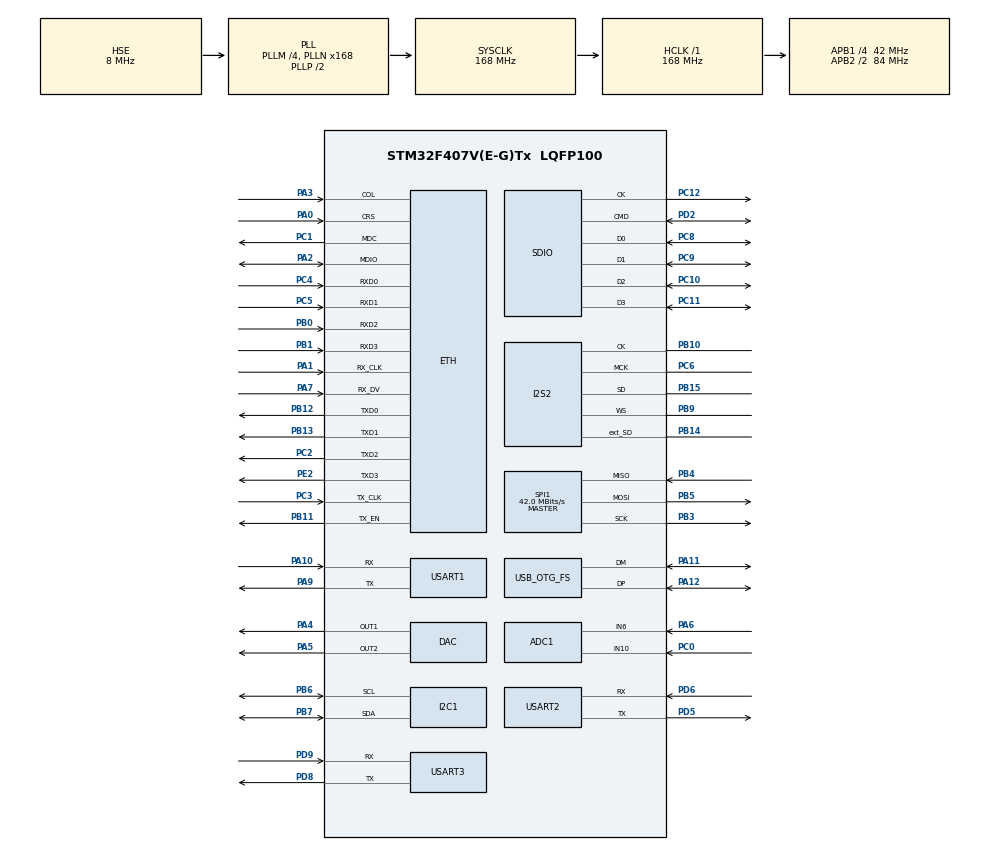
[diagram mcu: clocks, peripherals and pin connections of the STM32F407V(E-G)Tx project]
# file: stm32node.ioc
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ADC1.Channel-0\#ChannelRegularConversion=ADC_CHANNEL_10
ADC1.NbrOfConversionFlag=1
ADC1.Rank-0\#ChannelRegularConversion=1
ADC1.SamplingTime-0\#ChannelRegularConversion=ADC_SAMPLETIME_3CYCLES
ADC1.master=1
Dma.Request0=SDIO_RX
Dma.Request1=SDIO_TX
Dma.SDIO_RX.0.Direction=DMA_PERIPH_TO_MEMORY
Dma.SDIO_RX.0.FIFOMode=DMA_FIFOMODE_ENABLE
Dma.SDIO_RX.0.FIFOThreshold=DMA_FIFO_THRESHOLD_FULL
Dma.SDIO_RX.0.Instance=DMA2_Stream3
Dma.SDIO_RX.0.MemBurst=DMA_MBURST_INC4
Dma.SDIO_RX.0.MemDataAlignment=DMA_MDATAALIGN_WORD
Dma.SDIO_RX.0.MemInc=DMA_MINC_ENABLE
Dma.SDIO_RX.0.Mode=DMA_PFCTRL
Dma.SDIO_RX.0.PeriphBurst=DMA_PBURST_INC4
Dma.SDIO_RX.0.PeriphDataAlignment=DMA_PDATAALIGN_WORD
Dma.SDIO_RX.0.PeriphInc=DMA_PINC_DISABLE
Dma.SDIO_RX.0.Priority=DMA_PRIORITY_VERY_HIGH
Dma.SDIO_TX.1.Direction=DMA_MEMORY_TO_PERIPH
Dma.SDIO_TX.1.FIFOMode=DMA_FIFOMODE_ENABLE
Dma.SDIO_TX.1.FIFOThreshold=DMA_FIFO_THRESHOLD_FULL
Dma.SDIO_TX.1.Instance=DMA2_Stream6
Dma.SDIO_TX.1.MemBurst=DMA_MBURST_INC4
Dma.SDIO_TX.1.MemDataAlignment=DMA_MDATAALIGN_WORD
Dma.SDIO_TX.1.MemInc=DMA_MINC_ENABLE
Dma.SDIO_TX.1.Mode=DMA_PFCTRL
Dma.SDIO_TX.1.PeriphBurst=DMA_PBURST_INC4
Dma.SDIO_TX.1.PeriphDataAlignment=DMA_PDATAALIGN_WORD
Dma.SDIO_TX.1.PeriphInc=DMA_PINC_DISABLE
Dma.SDIO_TX.1.Priority=DMA_PRIORITY_VERY_HIGH
ETH.MediaInterface=ETH_MEDIA_INTERFACE_MII
FATFS._FS_RPATH=1
FATFS._MULTI_PARTITION=1
FATFS._VOLUMES=2
FREERTOS.Tasks01=defaultTask,0,2048,StartDefaultTask,Default,NULL,Dynamic,NULL,NULL
I2S2.ErrorAudioFreq=1.72 %
I2S2.FullDuplexMode=I2S_FULLDUPLEXMODE_ENABLE
I2S2.Instance=SPI$Index
I2S2.RealAudioFreq=8.138 KHz
I2S2.VirtualMode=I2S_MODE_MASTER
LWIP.Version=v2.0.3_Cube
Mcu.Family=STM32F4
Mcu.Name=STM32F407V(E-G)Tx
Mcu.Package=LQFP100
NVIC.DMA2_Stream3_IRQn=true\:6\:0\:true\:false\:true\:true\:false
NVIC.DMA2_Stream6_IRQn=true\:6\:0\:true\:false\:true\:true\:false
NVIC.ETH_IRQn=true\:5\:0\:false\:false\:true\:true\:false
NVIC.OTG_FS_IRQn=true\:5\:0\:false\:false\:true\:true\:false
NVIC.PriorityGroup=NVIC_PRIORITYGROUP_4
NVIC.SDIO_IRQn=true\:5\:0\:false\:false\:true\:true\:true
NVIC.TIM1_UP_TIM10_IRQn=true\:0\:0\:false\:false\:true\:false\:false
NVIC.TimeBase=TIM1_UP_TIM10_IRQn
NVIC.TimeBaseIP=TIM1
PA0-WKUP.Mode=MII
PA0-WKUP.Signal=ETH_CRS
PA1.Mode=MII
PA1.Signal=ETH_RX_CLK
PA10.Mode=Asynchronous
PA10.Signal=USART1_RX
PA11.Mode=Device_Only
PA11.Signal=USB_OTG_FS_DM
PA12.Mode=Device_Only
PA12.Signal=USB_OTG_FS_DP
PA13.Mode=Serial_Wire
PA13.Signal=SYS_JTMS-SWDIO
PA14.Mode=Serial_Wire
PA14.Signal=SYS_JTCK-SWCLK
PA2.Mode=MII
PA2.Signal=ETH_MDIO
PA3.Mode=MII
PA3.Signal=ETH_COL
PA4.Signal=COMP_DAC1_group
PA5.Signal=COMP_DAC2_group
PA6.Signal=ADCx_IN6
PA7.Mode=MII
PA7.Signal=ETH_RX_DV
PA9.Mode=Asynchronous
PA9.Signal=USART1_TX
PB0.Mode=MII
PB0.Signal=ETH_RXD2
PB1.Mode=MII
PB1.Signal=ETH_RXD3
PB10.Mode=Full_Duplex_Master
PB10.Signal=I2S2_CK
PB11.Mode=MII
PB11.Signal=ETH_TX_EN
PB12.Mode=MII
PB12.Signal=ETH_TXD0
PB13.Mode=MII
PB13.Signal=ETH_TXD1
PB14.Mode=Full_Duplex_Master
PB14.Signal=I2S2_ext_SD
PB15.Mode=Full_Duplex_Master
PB15.Signal=I2S2_SD
PB3.Mode=Full_Duplex_Master
PB3.Signal=SPI1_SCK
PB4.Mode=Full_Duplex_Master
PB4.Signal=SPI1_MISO
PB5.Mode=Full_Duplex_Master
PB5.Signal=SPI1_MOSI
PB6.Mode=I2C
PB6.Signal=I2C1_SCL
PB7.Mode=I2C
PB7.Signal=I2C1_SDA
PB9.Mode=Full_Duplex_Master
PB9.Signal=I2S2_WS
PC0.Signal=ADCx_IN10
PC1.Mode=MII
PC1.Signal=ETH_MDC
PC10.Mode=SD_4_bits_Wide_bus
PC10.Signal=SDIO_D2
PC11.Mode=SD_4_bits_Wide_bus
PC11.Signal=SDIO_D3
PC12.Mode=SD_4_bits_Wide_bus
PC12.Signal=SDIO_CK
PC14-OSC32_IN.Mode=LSE-External-Oscillator
PC14-OSC32_IN.Signal=RCC_OSC32_IN
PC15-OSC32_OUT.Mode=LSE-External-Oscillator
PC15-OSC32_OUT.Signal=RCC_OSC32_OUT
PC2.Mode=MII
PC2.Signal=ETH_TXD2
PC3.Mode=MII
PC3.Signal=ETH_TX_CLK
PC4.Mode=MII
PC4.Signal=ETH_RXD0
PC5.Mode=MII
PC5.Signal=ETH_RXD1
PC6.Mode=Master_Clock_Activated
PC6.Signal=I2S2_MCK
PC8.Mode=SD_4_bits_Wide_bus
PC8.Signal=SDIO_D0
PC9.Mode=SD_4_bits_Wide_bus
PC9.Signal=SDIO_D1
PD2.Mode=SD_4_bits_Wide_bus
PD2.Signal=SDIO_CMD
PD5.Mode=Asynchronous
PD5.Signal=USART2_TX
PD6.Mode=Asynchronous
PD6.Signal=USART2_RX
PD8.Mode=Asynchronous
PD8.Signal=USART3_TX
PD9.Mode=Asynchronous
PD9.Signal=USART3_RX
PE2.Mode=MII
PE2.Signal=ETH_TXD3
PH0-OSC_IN.Mode=HSE-External-Oscillator
PH0-OSC_IN.Signal=RCC_OSC_IN
PH1-OSC_OUT.Mode=HSE-External-Oscillator
PH1-OSC_OUT.Signal=RCC_OSC_OUT
ProjectManager.HeapSize=0x200
ProjectManager.StackSize=0xA000
ProjectManager.TargetToolchain=MDK-ARM V5
RCC.48MHZClocksFreq_Value=48000000
RCC.AHBFreq_Value=168000000
RCC.APB1CLKDivider=RCC_HCLK_DIV4
RCC.APB1Freq_Value=42000000
RCC.APB1TimFreq_Value=84000000
RCC.APB2CLKDivider=RCC_HCLK_DIV2
RCC.APB2Freq_Value=84000000
RCC.APB2TimFreq_Value=168000000
RCC.CortexFreq_Value=168000000
RCC.HCLKFreq_Value=168000000
RCC.HSE_VALUE=8000000
RCC.HSI_VALUE=16000000
RCC.PLLI2SN=50
RCC.PLLM=4
RCC.PLLN=168
RCC.PLLQ=7
RCC.SYSCLKFreq_VALUE=168000000
RCC.SYSCLKSource=RCC_SYSCLKSOURCE_PLLCLK
RCC.VCOOutputFreq_Value=336000000
SH.ADCx_IN10.0=ADC1_IN10,IN10
SH.ADCx_IN6.0=ADC1_IN6,IN6
SH.COMP_DAC1_group.0=DAC_OUT1,DAC_OUT1
SH.COMP_DAC2_group.0=DAC_OUT2,DAC_OUT2
SPI1.CalculateBaudRate=42.0 MBits/s
SPI1.Direction=SPI_DIRECTION_2LINES
SPI1.Mode=SPI_MODE_MASTER
SPI1.VirtualType=VM_MASTER
USART1.VirtualMode=VM_ASYNC
USART2.VirtualMode=VM_ASYNC
USART3.VirtualMode=VM_ASYNC
USB_DEVICE.CLASS_NAME_FS=AUDIO
USB_DEVICE.VirtualMode-AUDIO_FS=Audio
USB_DEVICE.VirtualModeFS=Audio_FS
USB_OTG_FS.VirtualMode=Device_Only
VP_FATFS_VS_SDIO.Mode=SDIO
VP_FREERTOS_VS_ENABLE.Mode=Enabled
VP_LWIP_VS_Enabled.Mode=Enabled
VP_MBEDTLS_VS_MBEDTLS.Mode=Enabled
VP_RTC_VS_RTC_Activate.Mode=RTC_Enabled
VP_SYS_VS_tim1.Mode=TIM1
VP_USB_DEVICE_VS_USB_DEVICE_AUDIO_FS.Mode=AUDIO_FS
board=stm32node

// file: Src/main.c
/**
  ******************************************************************************
  * @file           : main.c
  * @brief          : Main program body
  ******************************************************************************
  * This notice applies to any and all portions of this file
  * that are not between comment pairs USER CODE BEGIN and
  * USER CODE END. Other portions of this file, whether
  * inserted by the user or by software development tools
  * are owned by their respective copyright owners.
  *
  * Copyright (c) 2018 STMicroelectronics International N.V.
  * All rights reserved.
  *
  * Redistribution and use in source and binary forms, with or without
  * modification, are permitted, provided that the following conditions are met:
  *
  * 1. Redistribution of source code must retain the above copyright notice,
  *    this list of conditions and the following disclaimer.
  * 2. Redistributions in binary form must reproduce the above copyright notice,
  *    this list of conditions and the following disclaimer in the documentation
  *    and/or other materials provided with the distribution.
  * 3. Neither the name of STMicroelectronics nor the names of other
  *    contributors to this software may be used to endorse or promote products
  *    derived from this software without specific written permission.
  * 4. This software, including modifications and/or derivative works of this
  *    software, must execute solely and exclusively on microcontroller or
  *    microprocessor devices manufactured by or for STMicroelectronics.
  * 5. Redistribution and use of this software other than as permitted under
  *    this license is void and will automatically terminate your rights under
  *    this license.
  *
  * THIS SOFTWARE IS PROVIDED BY STMICROELECTRONICS AND CONTRIBUTORS "AS IS"
  * AND ANY EXPRESS, IMPLIED OR STATUTORY WARRANTIES, INCLUDING, BUT NOT
  * LIMITED TO, THE IMPLIED WARRANTIES OF MERCHANTABILITY, FITNESS FOR A
  * PARTICULAR PURPOSE AND NON-INFRINGEMENT OF THIRD PARTY INTELLECTUAL PROPERTY
  * RIGHTS ARE DISCLAIMED TO THE FULLEST EXTENT PERMITTED BY LAW. IN NO EVENT
  * SHALL STMICROELECTRONICS OR CONTRIBUTORS BE LIABLE FOR ANY DIRECT, INDIRECT,
  * INCIDENTAL, SPECIAL, EXEMPLARY, OR CONSEQUENTIAL DAMAGES (INCLUDING, BUT NOT
  * LIMITED TO, PROCUREMENT OF SUBSTITUTE GOODS OR SERVICES; LOSS OF USE, DATA,
  * OR PROFITS; OR BUSINESS INTERRUPTION) HOWEVER CAUSED AND ON ANY THEORY OF
  * LIABILITY, WHETHER IN CONTRACT, STRICT LIABILITY, OR TORT (INCLUDING
  * NEGLIGENCE OR OTHERWISE) ARISING IN ANY WAY OUT OF THE USE OF THIS SOFTWARE,
  * EVEN IF ADVISED OF THE POSSIBILITY OF SUCH DAMAGE.
  *
  ******************************************************************************
  */
#include "main.h"
#include "stm32f4xx_hal.h"
#include "cmsis_os.h"
#include "fatfs.h"
#include "mbedtls.h"
#include "usb_device.h"

ADC_HandleTypeDef hadc1;

DAC_HandleTypeDef hdac;

I2C_HandleTypeDef hi2c1;

I2S_HandleTypeDef hi2s2;

RTC_HandleTypeDef hrtc;

SD_HandleTypeDef hsd;
DMA_HandleTypeDef hdma_sdio_rx;
DMA_HandleTypeDef hdma_sdio_tx;

SPI_HandleTypeDef hspi1;

UART_HandleTypeDef huart1;
UART_HandleTypeDef huart2;
UART_HandleTypeDef huart3;

osThreadId defaultTaskHandle;

/* USER CODE BEGIN PV */
/* Private variables ---------------------------------------------------------*/

/* USER CODE END PV */

void SystemClock_Config(void);
static void MX_GPIO_Init(void);
static void MX_DMA_Init(void);
static void MX_ADC1_Init(void);
static void MX_DAC_Init(void);
static void MX_I2C1_Init(void);
static void MX_I2S2_Init(void);
static void MX_RTC_Init(void);
static void MX_SDIO_SD_Init(void);
static void MX_SPI1_Init(void);
static void MX_USART1_UART_Init(void);
static void MX_USART2_UART_Init(void);
static void MX_USART3_UART_Init(void);
void StartDefaultTask(void const * argument);

/* USER CODE BEGIN PFP */
/* Private function prototypes -----------------------------------------------*/

/* USER CODE END PFP */

/* USER CODE BEGIN 0 */
int fputc(int ch,FILE *f)
{
    uint8_t temp[1]={ch};
    HAL_UART_Transmit(&huart1,temp,1,2000);
		return ch;
}
/* USER CODE END 0 */

int main(void)
{

  /* MCU Configuration----------------------------------------------------------*/

  /* Reset of all peripherals, Initializes the Flash interface and the Systick. */
  HAL_Init();

  /* Configure the system clock */
  SystemClock_Config();

  /* Initialize all configured peripherals */
  MX_GPIO_Init();
  MX_DMA_Init();
  MX_ADC1_Init();
  MX_DAC_Init();
  MX_I2C1_Init();
  MX_I2S2_Init();
  MX_RTC_Init();
  MX_SDIO_SD_Init();
  MX_SPI1_Init();
  MX_USART1_UART_Init();
  MX_USART2_UART_Init();
  MX_USART3_UART_Init();

  /* Create the thread(s) */
  /* definition and creation of defaultTask */
  osThreadDef(defaultTask, StartDefaultTask, osPriorityNormal, 0, 2*1024);
  defaultTaskHandle = osThreadCreate(osThread(defaultTask), NULL);
	//void FatFsTest(void);
	//FatFsTest();

  /* Start scheduler */
  osKernelStart();

  /* We should never get here as control is now taken by the scheduler */

  /* Infinite loop */
  while (1)
  {

  }

}

void SystemClock_Config(void)
{

  RCC_OscInitTypeDef RCC_OscInitStruct;
  RCC_ClkInitTypeDef RCC_ClkInitStruct;
  RCC_PeriphCLKInitTypeDef PeriphClkInitStruct;

    /**Configure the main internal regulator output voltage
    */
  __HAL_RCC_PWR_CLK_ENABLE();

  __HAL_PWR_VOLTAGESCALING_CONFIG(PWR_REGULATOR_VOLTAGE_SCALE1);

    /**Initializes the CPU, AHB and APB busses clocks
    */
  RCC_OscInitStruct.OscillatorType = RCC_OSCILLATORTYPE_LSI|RCC_OSCILLATORTYPE_HSE;
  RCC_OscInitStruct.HSEState = RCC_HSE_ON;
  RCC_OscInitStruct.LSIState = RCC_LSI_ON;
  RCC_OscInitStruct.PLL.PLLState = RCC_PLL_ON;
  RCC_OscInitStruct.PLL.PLLSource = RCC_PLLSOURCE_HSE;
  RCC_OscInitStruct.PLL.PLLM = 4;
  RCC_OscInitStruct.PLL.PLLN = 168;
  RCC_OscInitStruct.PLL.PLLP = RCC_PLLP_DIV2;
  RCC_OscInitStruct.PLL.PLLQ = 7;
  if (HAL_RCC_OscConfig(&RCC_OscInitStruct) != HAL_OK)
  {
    _Error_Handler(__FILE__, __LINE__);
  }

    /**Initializes the CPU, AHB and APB busses clocks
    */
  RCC_ClkInitStruct.ClockType = RCC_CLOCKTYPE_HCLK|RCC_CLOCKTYPE_SYSCLK
                              |RCC_CLOCKTYPE_PCLK1|RCC_CLOCKTYPE_PCLK2;
  RCC_ClkInitStruct.SYSCLKSource = RCC_SYSCLKSOURCE_PLLCLK;
  RCC_ClkInitStruct.AHBCLKDivider = RCC_SYSCLK_DIV1;
  RCC_ClkInitStruct.APB1CLKDivider = RCC_HCLK_DIV4;
  RCC_ClkInitStruct.APB2CLKDivider = RCC_HCLK_DIV2;

  if (HAL_RCC_ClockConfig(&RCC_ClkInitStruct, FLASH_LATENCY_5) != HAL_OK)
  {
    _Error_Handler(__FILE__, __LINE__);
  }

  PeriphClkInitStruct.PeriphClockSelection = RCC_PERIPHCLK_I2S|RCC_PERIPHCLK_RTC;
  PeriphClkInitStruct.PLLI2S.PLLI2SN = 50;
  PeriphClkInitStruct.PLLI2S.PLLI2SR = 2;
  PeriphClkInitStruct.RTCClockSelection = RCC_RTCCLKSOURCE_LSI;
  if (HAL_RCCEx_PeriphCLKConfig(&PeriphClkInitStruct) != HAL_OK)
  {
    _Error_Handler(__FILE__, __LINE__);
  }

    /**Configure the Systick interrupt time
    */
  HAL_SYSTICK_Config(HAL_RCC_GetHCLKFreq()/1000);

    /**Configure the Systick
    */
  HAL_SYSTICK_CLKSourceConfig(SYSTICK_CLKSOURCE_HCLK);

  /* SysTick_IRQn interrupt configuration */
  HAL_NVIC_SetPriority(SysTick_IRQn, 15, 0);
}

/* ADC1 init function */
static void MX_ADC1_Init(void)
{

  ADC_ChannelConfTypeDef sConfig;

    /**Configure the global features of the ADC (Clock, Resolution, Data Alignment and number of conversion)
    */
  hadc1.Instance = ADC1;
  hadc1.Init.ClockPrescaler = ADC_CLOCK_SYNC_PCLK_DIV4;
  hadc1.Init.Resolution = ADC_RESOLUTION_12B;
  hadc1.Init.ScanConvMode = DISABLE;
  hadc1.Init.ContinuousConvMode = DISABLE;
  hadc1.Init.DiscontinuousConvMode = DISABLE;
  hadc1.Init.ExternalTrigConvEdge = ADC_EXTERNALTRIGCONVEDGE_NONE;
  hadc1.Init.ExternalTrigConv = ADC_SOFTWARE_START;
  hadc1.Init.DataAlign = ADC_DATAALIGN_RIGHT;
  hadc1.Init.NbrOfConversion = 1;
  hadc1.Init.DMAContinuousRequests = DISABLE;
  hadc1.Init.EOCSelection = ADC_EOC_SINGLE_CONV;
  if (HAL_ADC_Init(&hadc1) != HAL_OK)
  {
    _Error_Handler(__FILE__, __LINE__);
  }

    /**Configure for the selected ADC regular channel its corresponding rank in the sequencer and its sample time.
    */
  sConfig.Channel = ADC_CHANNEL_10;
  sConfig.Rank = 1;
  sConfig.SamplingTime = ADC_SAMPLETIME_3CYCLES;
  if (HAL_ADC_ConfigChannel(&hadc1, &sConfig) != HAL_OK)
  {
    _Error_Handler(__FILE__, __LINE__);
  }

}

/* DAC init function */
static void MX_DAC_Init(void)
{

  DAC_ChannelConfTypeDef sConfig;

    /**DAC Initialization
    */
  hdac.Instance = DAC;
  if (HAL_DAC_Init(&hdac) != HAL_OK)
  {
    _Error_Handler(__FILE__, __LINE__);
  }

    /**DAC channel OUT1 config
    */
  sConfig.DAC_Trigger = DAC_TRIGGER_NONE;
  sConfig.DAC_OutputBuffer = DAC_OUTPUTBUFFER_ENABLE;
  if (HAL_DAC_ConfigChannel(&hdac, &sConfig, DAC_CHANNEL_1) != HAL_OK)
  {
    _Error_Handler(__FILE__, __LINE__);
  }

    /**DAC channel OUT2 config
    */
  if (HAL_DAC_ConfigChannel(&hdac, &sConfig, DAC_CHANNEL_2) != HAL_OK)
  {
    _Error_Handler(__FILE__, __LINE__);
  }

}

/* I2C1 init function */
static void MX_I2C1_Init(void)
{

  hi2c1.Instance = I2C1;
  hi2c1.Init.ClockSpeed = 100000;
  hi2c1.Init.DutyCycle = I2C_DUTYCYCLE_2;
  hi2c1.Init.OwnAddress1 = 0;
  hi2c1.Init.AddressingMode = I2C_ADDRESSINGMODE_7BIT;
  hi2c1.Init.DualAddressMode = I2C_DUALADDRESS_DISABLE;
  hi2c1.Init.OwnAddress2 = 0;
  hi2c1.Init.GeneralCallMode = I2C_GENERALCALL_DISABLE;
  hi2c1.Init.NoStretchMode = I2C_NOSTRETCH_DISABLE;
  if (HAL_I2C_Init(&hi2c1) != HAL_OK)
  {
    _Error_Handler(__FILE__, __LINE__);
  }

}

/* I2S2 init function */
static void MX_I2S2_Init(void)
{

  hi2s2.Instance = SPI2;
  hi2s2.Init.Mode = I2S_MODE_MASTER_TX;
  hi2s2.Init.Standard = I2S_STANDARD_PHILIPS;
  hi2s2.Init.DataFormat = I2S_DATAFORMAT_16B;
  hi2s2.Init.MCLKOutput = I2S_MCLKOUTPUT_ENABLE;
  hi2s2.Init.AudioFreq = I2S_AUDIOFREQ_8K;
  hi2s2.Init.CPOL = I2S_CPOL_LOW;
  hi2s2.Init.ClockSource = I2S_CLOCK_PLL;
  hi2s2.Init.FullDuplexMode = I2S_FULLDUPLEXMODE_ENABLE;
  if (HAL_I2S_Init(&hi2s2) != HAL_OK)
  {
    _Error_Handler(__FILE__, __LINE__);
  }

}

/* RTC init function */
static void MX_RTC_Init(void)
{

    /**Initialize RTC Only
    */
  hrtc.Instance = RTC;
  hrtc.Init.HourFormat = RTC_HOURFORMAT_24;
  hrtc.Init.AsynchPrediv = 127;
  hrtc.Init.SynchPrediv = 255;
  hrtc.Init.OutPut = RTC_OUTPUT_DISABLE;
  hrtc.Init.OutPutPolarity = RTC_OUTPUT_POLARITY_HIGH;
  hrtc.Init.OutPutType = RTC_OUTPUT_TYPE_OPENDRAIN;
  if (HAL_RTC_Init(&hrtc) != HAL_OK)
  {
    _Error_Handler(__FILE__, __LINE__);
  }

}

/* SDIO init function */
static void MX_SDIO_SD_Init(void)
{

  hsd.Instance = SDIO;
  hsd.Init.ClockEdge = SDIO_CLOCK_EDGE_RISING;
  hsd.Init.ClockBypass = SDIO_CLOCK_BYPASS_DISABLE;
  hsd.Init.ClockPowerSave = SDIO_CLOCK_POWER_SAVE_DISABLE;
  hsd.Init.BusWide = SDIO_BUS_WIDE_1B;
  hsd.Init.HardwareFlowControl = SDIO_HARDWARE_FLOW_CONTROL_DISABLE;
  hsd.Init.ClockDiv = 0;

}

/* SPI1 init function */
static void MX_SPI1_Init(void)
{

  /* SPI1 parameter configuration*/
  hspi1.Instance = SPI1;
  hspi1.Init.Mode = SPI_MODE_MASTER;
  hspi1.Init.Direction = SPI_DIRECTION_2LINES;
  hspi1.Init.DataSize = SPI_DATASIZE_8BIT;
  hspi1.Init.CLKPolarity = SPI_POLARITY_LOW;
  hspi1.Init.CLKPhase = SPI_PHASE_1EDGE;
  hspi1.Init.NSS = SPI_NSS_SOFT;
  hspi1.Init.BaudRatePrescaler = SPI_BAUDRATEPRESCALER_2;
  hspi1.Init.FirstBit = SPI_FIRSTBIT_MSB;
  hspi1.Init.TIMode = SPI_TIMODE_DISABLE;
  hspi1.Init.CRCCalculation = SPI_CRCCALCULATION_DISABLE;
  hspi1.Init.CRCPolynomial = 10;
  if (HAL_SPI_Init(&hspi1) != HAL_OK)
  {
    _Error_Handler(__FILE__, __LINE__);
  }

}

/* USART1 init function */
static void MX_USART1_UART_Init(void)
{

  huart1.Instance = USART1;
  huart1.Init.BaudRate = 115200;
  huart1.Init.WordLength = UART_WORDLENGTH_8B;
  huart1.Init.StopBits = UART_STOPBITS_1;
  huart1.Init.Parity = UART_PARITY_NONE;
  huart1.Init.Mode = UART_MODE_TX_RX;
  huart1.Init.HwFlowCtl = UART_HWCONTROL_NONE;
  huart1.Init.OverSampling = UART_OVERSAMPLING_16;
  if (HAL_UART_Init(&huart1) != HAL_OK)
  {
    _Error_Handler(__FILE__, __LINE__);
  }

}

/* USART2 init function */
static void MX_USART2_UART_Init(void)
{

  huart2.Instance = USART2;
  huart2.Init.BaudRate = 115200;
  huart2.Init.WordLength = UART_WORDLENGTH_8B;
  huart2.Init.StopBits = UART_STOPBITS_1;
  huart2.Init.Parity = UART_PARITY_NONE;
  huart2.Init.Mode = UART_MODE_TX_RX;
  huart2.Init.HwFlowCtl = UART_HWCONTROL_NONE;
  huart2.Init.OverSampling = UART_OVERSAMPLING_16;
  if (HAL_UART_Init(&huart2) != HAL_OK)
  {
    _Error_Handler(__FILE__, __LINE__);
  }

}

/* USART3 init function */
static void MX_USART3_UART_Init(void)
{

  huart3.Instance = USART3;
  huart3.Init.BaudRate = 115200;
  huart3.Init.WordLength = UART_WORDLENGTH_8B;
  huart3.Init.StopBits = UART_STOPBITS_1;
  huart3.Init.Parity = UART_PARITY_NONE;
  huart3.Init.Mode = UART_MODE_TX_RX;
  huart3.Init.HwFlowCtl = UART_HWCONTROL_NONE;
  huart3.Init.OverSampling = UART_OVERSAMPLING_16;
  if (HAL_UART_Init(&huart3) != HAL_OK)
  {
    _Error_Handler(__FILE__, __LINE__);
  }

}

static void MX_DMA_Init(void)
{
  /* DMA controller clock enable */
  __HAL_RCC_DMA2_CLK_ENABLE();

  /* DMA interrupt init */
  /* DMA2_Stream3_IRQn interrupt configuration */
  HAL_NVIC_SetPriority(DMA2_Stream3_IRQn, 6, 0);
  HAL_NVIC_EnableIRQ(DMA2_Stream3_IRQn);
  /* DMA2_Stream6_IRQn interrupt configuration */
  HAL_NVIC_SetPriority(DMA2_Stream6_IRQn, 6, 0);
  HAL_NVIC_EnableIRQ(DMA2_Stream6_IRQn);

}

/** Configure pins as
        * Analog
        * Input
        * Output
        * EVENT_OUT
        * EXTI
*/
static void MX_GPIO_Init(void)
{

  /* GPIO Ports Clock Enable */
  __HAL_RCC_GPIOE_CLK_ENABLE();
  __HAL_RCC_GPIOC_CLK_ENABLE();
  __HAL_RCC_GPIOH_CLK_ENABLE();
  __HAL_RCC_GPIOA_CLK_ENABLE();
  __HAL_RCC_GPIOB_CLK_ENABLE();
  __HAL_RCC_GPIOD_CLK_ENABLE();

}

/* USER CODE BEGIN 4 */
#include <stdio.h>
#include <string.h>
#include <lua.h>
#include <lauxlib.h>
#include <lualib.h>
/* USER CODE END 4 */

/* StartDefaultTask function */
void StartDefaultTask(void const * argument)
{
  /* init code for FATFS */
  MX_FATFS_Init();

  /* MX_LWIP_Init() is generated within mbedtls_net_init() function in net_cockets.c file */
  /* Up to user to call mbedtls_net_init() function in MBEDTLS initialization step */

  /* Up to user define the empty MX_MBEDTLS_Init() function located in mbedtls.c file */
  MX_MBEDTLS_Init();

  /* init code for USB_DEVICE */
  MX_USB_DEVICE_Init();

  /* USER CODE BEGIN 5 */
	printf("Starting eLua Demo\r\n");

	void stm32node_init(void);
	stm32node_init();
	int error  = 0;
	const char * buff = "file = io.open('init.lua','r');io.input(file);print(io.read());print(\"The table the script received has:\\n\");\r\n\
	x = 0;\r\n\
	for i = 1, #foo do\r\n\
	print(i, foo[i])\r\n\
	x = x + foo[i]\r\n\
	end\r\n\
	print(\"Returning data back to C\\n\");\r\n\
	return x";

	lua_State *L = lua_open();   /* opens Lua */
	luaL_openlibs(L);
	lua_newtable(L);    /* We will pass a table */
	for (int i = 1; i <= 5; i++) {
	lua_pushnumber(L, i);   /* Push the table index */
	lua_pushnumber(L, i*2); /* Push the cell value */
	lua_rawset(L, -3);      /* Stores the pair in the table */
	}
	lua_setglobal(L, "foo");
	error = luaL_loadbuffer(L,buff,strlen(buff),"line") || lua_pcall(L,0,0,0);
	if (error) {
	fprintf(stderr,"%s",lua_tostring(L,-1));
	lua_pop(L,1);
	}
	lua_close(L);

  /* Infinite loop */
  for(;;)
  {
    osDelay(1);
  }
  /* USER CODE END 5 */
}

void HAL_TIM_PeriodElapsedCallback(TIM_HandleTypeDef *htim)
{
  if (htim->Instance == TIM1) {
    HAL_IncTick();
  }
}

void _Error_Handler(char *file, int line)
{
  while(1)
  {
  }
}

/************************ (C) COPYRIGHT STMicroelectronics *****END OF FILE****/
